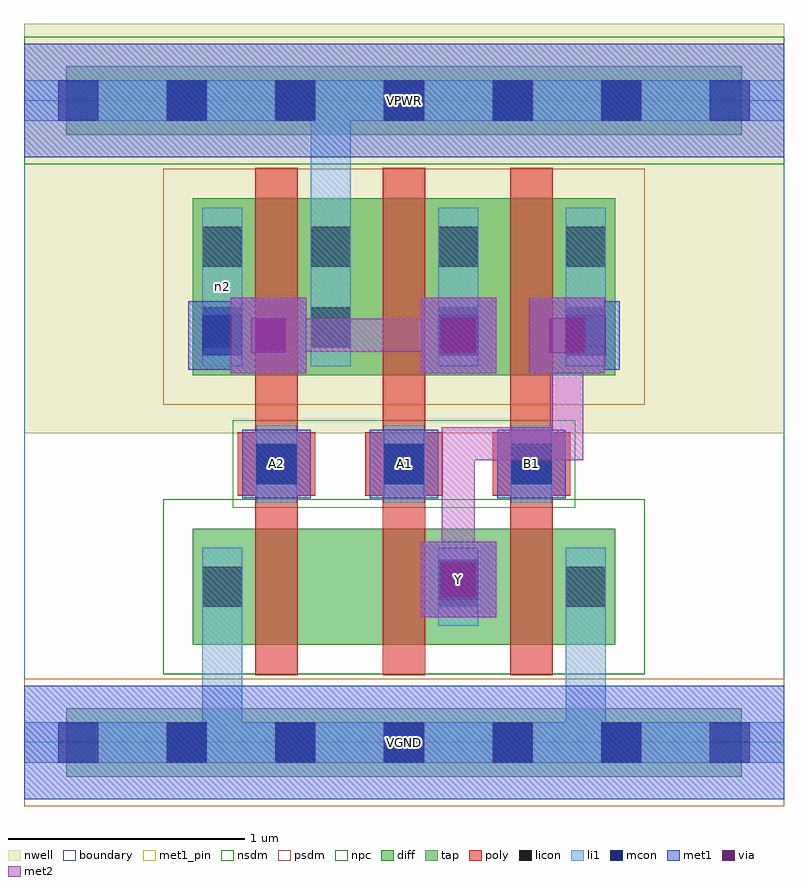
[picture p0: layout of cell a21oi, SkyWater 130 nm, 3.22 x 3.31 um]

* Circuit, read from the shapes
.subckt a21oi A1 A2 B1 VGND VPWR Y n2
XM1 n1 A2 VGND VGND sky130_fd_pr__nfet_01v8 w=0.49 l=0.18
XM2 Y A1 n1 VGND sky130_fd_pr__nfet_01v8 w=0.49 l=0.18
XM3 VGND B1 Y VGND sky130_fd_pr__nfet_01v8 w=0.49 l=0.18
XM4 VPWR A2 n2 VPWR sky130_fd_pr__pfet_01v8 w=0.75 l=0.18
XM5 n2 A1 VPWR VPWR sky130_fd_pr__pfet_01v8 w=0.75 l=0.18
XM6 Y B1 n2 VPWR sky130_fd_pr__pfet_01v8 w=0.75 l=0.18
.ends

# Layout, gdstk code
import gdstk
lib = gdstk.Library(unit=1e-6, precision=1e-09)
def R(c, l, rs):  # rectangles x0, y0, x1, y1
    for r in rs: c.add(gdstk.rectangle(r[:2], r[2:], *l))
def A(c, l, x, y, w, h, nx, ny, dx, dy):  # array of equal rectangles
    R(c, l, [(x+i*dx, y+j*dy, x+i*dx+w, y+j*dy+h) for i in range(nx) for j in range(ny)])
nwell = (64, 20)
diff = (65, 20)
tap = (65, 44)
poly = (66, 20)
licon = (66, 44)
li1 = (67, 20)
mcon = (67, 44)
met1_pin = (68, 16)
met1 = (68, 20)
via = (68, 44)
met2 = (69, 20)
nsdm = (93, 44)
psdm = (94, 20)
npc = (95, 20)
boundary = (235, 4)

a21oi = lib.new_cell('a21oi')
R(a21oi, nwell, [(0,1.31,3.22,3.045)])
R(a21oi, diff, [(0.715,0.415,2.505,0.905), (0.715,1.555,2.505,2.305)])
R(a21oi, tap, [(0.18,-0.145,3.04,0.145), (0.18,2.575,3.04,2.865)])
A(a21oi, poly, 0.98, 0.285, 0.18, 2.15, 3, 1, 0.54, 0)
A(a21oi, poly, 0.905, 1.045, 0.33, 0.27, 3, 1, 0.54, 0)
A(a21oi, licon, 0.605, -0.085, 0.17, 0.17, 5, 2, 0.46, 2.72)
A(a21oi, licon, 0.985, 1.095, 0.17, 0.17, 3, 1, 0.54, 0)
A(a21oi, licon, 1.215, 1.675, 0.17, 0.17, 3, 2, 0.54, 0.34)
R(a21oi, licon, [(0.755,0.575,0.925,0.745), (1.755,0.575,1.925,0.745), (2.295,0.575,2.465,0.745), (0.755,1.675,0.925,1.845), (0.755,2.015,0.925,2.185)])
A(a21oi, li1, 0.985, 1.015, 0.17, 0.33, 3, 1, 0.54, 0)
A(a21oi, li1, 1.215, 1.595, 0.17, 0.67, 3, 1, 0.54, 0)
R(a21oi, li1, [(0,-0.085,3.22,0.085), (0.755,-0.085,0.925,0.825), (2.295,-0.085,2.465,0.825), (0.755,0.495,0.925,0.825), (1.755,0.495,1.925,0.825), (2.295,0.495,2.465,0.825), (0.755,1.595,0.925,2.265), (1.215,1.595,1.385,2.805), (0,2.635,3.22,2.805)])
A(a21oi, mcon, 0.145, -0.085, 0.17, 0.17, 7, 2, 0.46, 2.72)
A(a21oi, mcon, 0.985, 1.095, 0.17, 0.17, 3, 1, 0.54, 0)
R(a21oi, mcon, [(1.755,0.605,1.925,0.775), (0.755,1.64,0.925,1.81), (1.755,1.64,1.925,1.81), (2.295,1.64,2.465,1.81)])
A(a21oi, met1_pin, 0.925, 1.035, 0.29, 0.29, 3, 1, 0.54, 0)
R(a21oi, met1_pin, [(0,-0.24,3.22,0.24), (1.68,0.53,2,0.85), (0,2.48,3.22,2.96)])
A(a21oi, met1, 0.925, 1.035, 0.29, 0.29, 3, 1, 0.54, 0)
R(a21oi, met1, [(0,-0.24,3.22,0.24), (1.68,0.53,2,0.85), (1.695,0.545,1.985,0.835), (0.875,1.565,1.195,1.885), (1.68,1.565,2,1.885), (2.14,1.565,2.46,1.885), (0.695,1.58,0.985,1.87), (1.695,1.58,1.985,1.87), (2.235,1.58,2.525,1.87), (0.77,1.655,1.105,1.795), (2.23,1.655,2.45,1.795), (0,2.48,3.22,2.96)])
R(a21oi, via, [(1.765,0.615,1.915,0.765), (0.96,1.65,1.11,1.8), (1.765,1.65,1.915,1.8), (2.225,1.65,2.375,1.8)])
R(a21oi, met2, [(1.68,0.53,2,0.85), (1.77,0.62,1.91,1.335), (1.77,1.195,2.37,1.335), (2.23,1.195,2.37,1.795), (0.875,1.565,1.195,1.885), (1.68,1.565,2,1.885), (2.14,1.565,2.46,1.885), (0.965,1.655,1.91,1.795)])
R(a21oi, nsdm, [(0.59,0.29,2.63,1.03), (0,2.45,3.22,2.99)])
R(a21oi, psdm, [(0,-0.27,3.22,0.27), (0.59,1.43,2.63,2.43)])
R(a21oi, npc, [(0.885,0.995,2.335,1.365)])
R(a21oi, boundary, [(0,0,3.22,2.72)])
a21oi.add(gdstk.Label('n2', (0.84,1.93), layer=67, texttype=5))
a21oi.add(gdstk.Label('A1', (1.61,1.18), layer=68, texttype=5))
a21oi.add(gdstk.Label('A2', (1.07,1.18), layer=68, texttype=5))
a21oi.add(gdstk.Label('B1', (2.15,1.18), layer=68, texttype=5))
a21oi.add(gdstk.Label('Y', (1.84,0.69), layer=68, texttype=5))
a21oi.add(gdstk.Label('VPWR', (1.61,2.72), layer=68, texttype=5))
a21oi.add(gdstk.Label('VGND', (1.61,0), layer=68, texttype=5))
a21oi.add(gdstk.Label('A1', (1.61,1.18), layer=68, texttype=16))
a21oi.add(gdstk.Label('A2', (1.07,1.18), layer=68, texttype=16))
a21oi.add(gdstk.Label('B1', (2.15,1.18), layer=68, texttype=16))
a21oi.add(gdstk.Label('Y', (1.84,0.69), layer=68, texttype=16))
a21oi.add(gdstk.Label('VPWR', (1.61,2.72), layer=68, texttype=16))
a21oi.add(gdstk.Label('VGND', (1.61,0), layer=68, texttype=16))

lib.write_gds('a21oi.gds')
